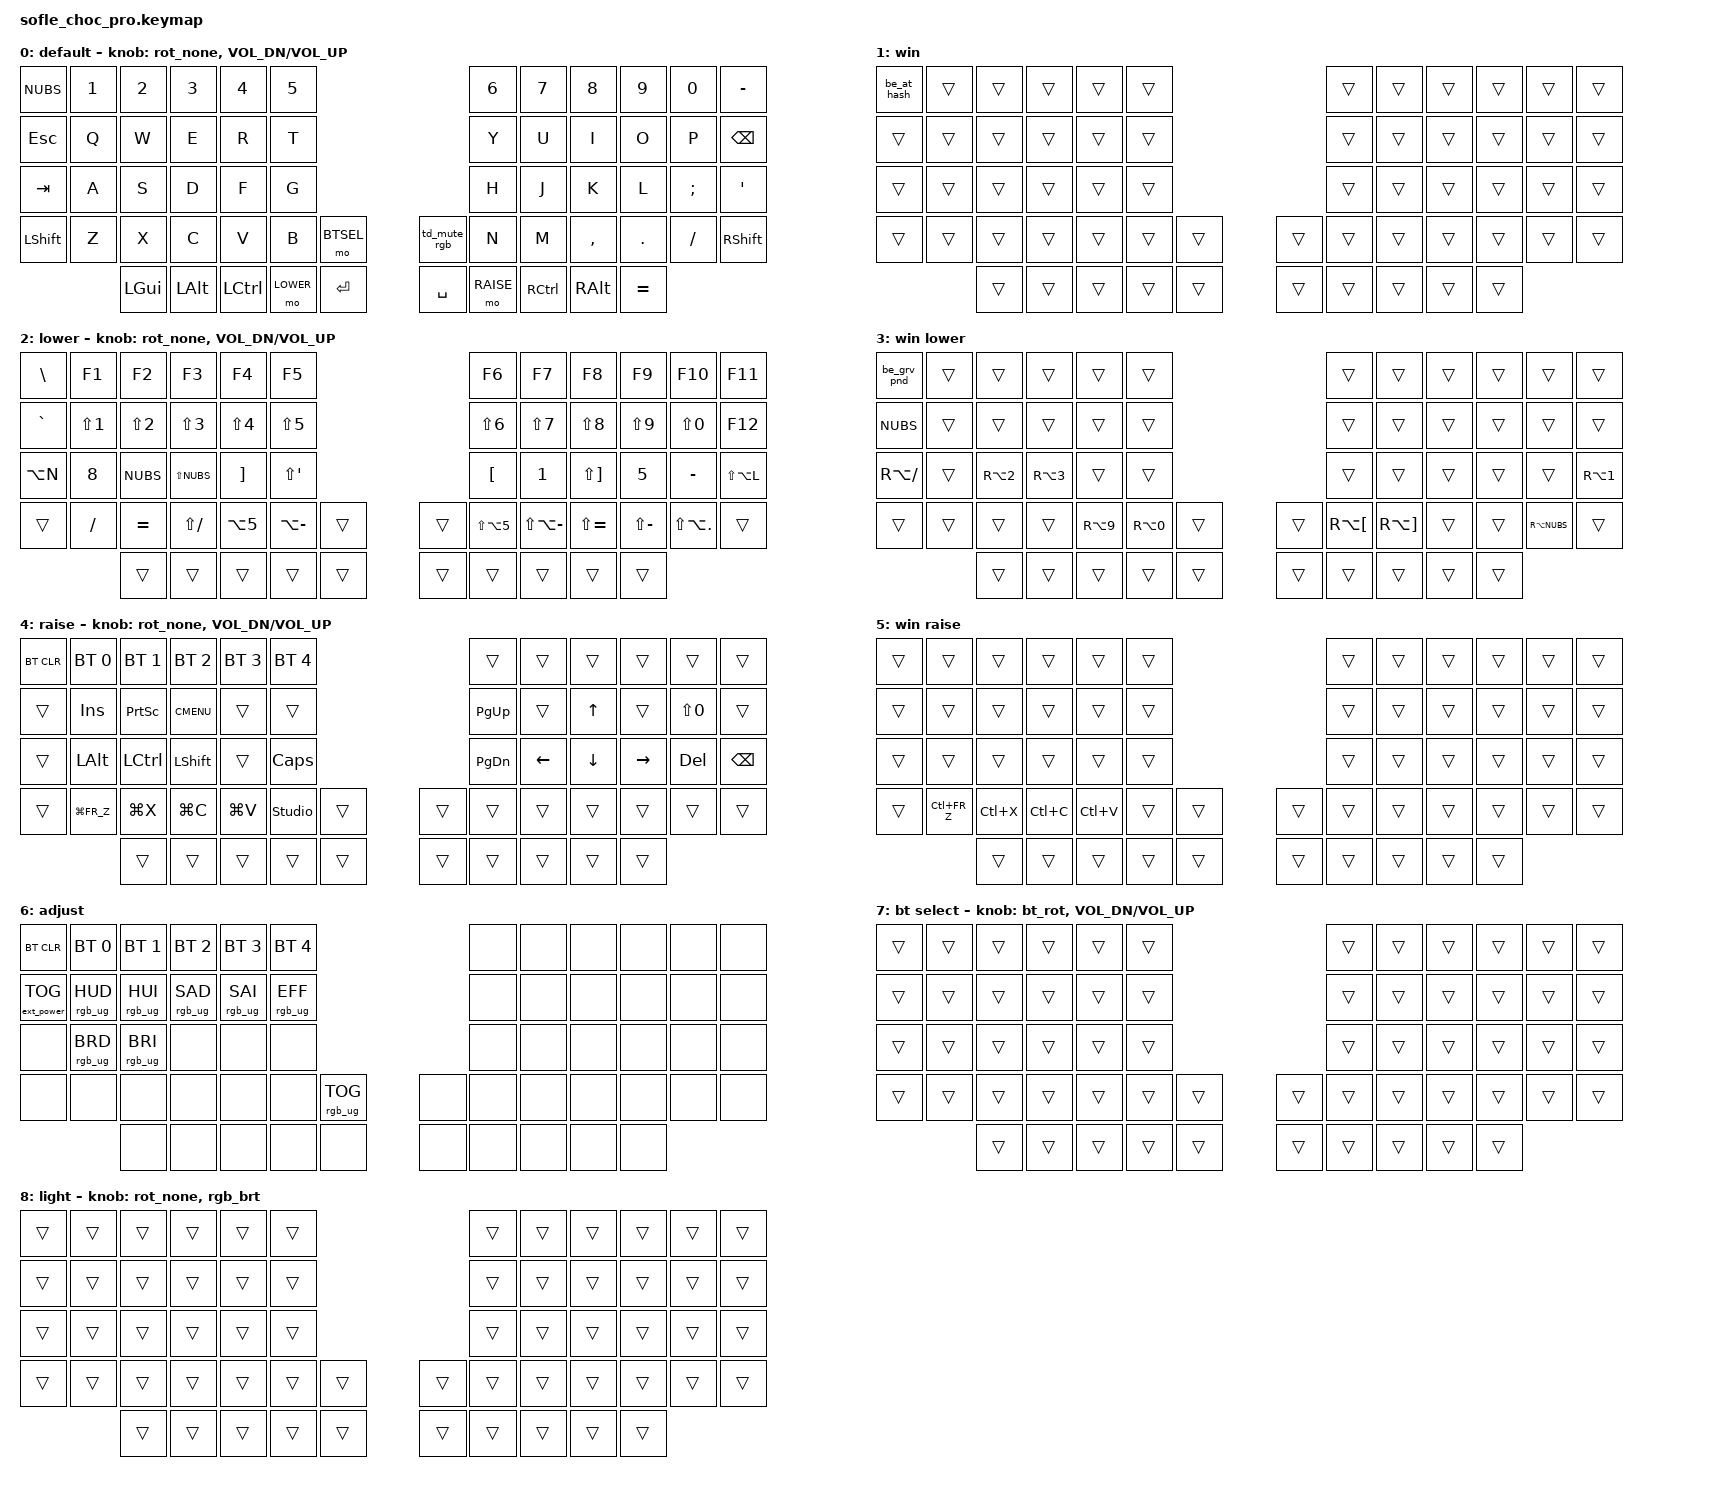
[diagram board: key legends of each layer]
/*
* Copyright (c) 2020 The ZMK Contributors
*
* SPDX-License-Identifier: MIT
*/

#include <behaviors.dtsi>
#include <dt-bindings/zmk/keys.h>
#include <dt-bindings/zmk/bt.h>
#include <dt-bindings/zmk/rgb.h>
#include <dt-bindings/zmk/ext_power.h>

// Each WIN_* layer sits directly above its macOS layer and only overrides the keys
// that differ on the Windows "Belgian (Period)" layout. WIN is switched on automatically
// while Bluetooth profile 2 is selected (CONFIG_ZMK_PROFILE_LAYER in sofle_choc_pro.conf).
#define BASE 0
#define WIN 1
#define LOWER 2
#define WIN_LOWER 3
#define RAISE 4
#define WIN_RAISE 5
#define ADJUST 6
#define BTSEL 7
// New layers go at the end: inserting one renumbers the others, and bindings saved on the
// keyboard (ZMK Studio) are stored by layer number. Otherwise run a settings reset after flashing.
#define RGBSEL 8

// ------------------------------------------------------------------------------------------------------------
// macOS "French" (AZERTY) input source aliases.
// ZMK sends HID key positions; macOS translates them using the selected input source,
// so these map each French character to the key (+ modifiers) that produces it on a Mac.
// If '@' and '<' come out swapped, exchange the FR_AT/FR_HASH and FR_LT/FR_GT definitions
// (macOS swaps the ISO section key depending on the detected keyboard type).
// ------------------------------------------------------------------------------------------------------------

// Letters that differ from QWERTY
#define FR_A      Q
#define FR_Z      W
#define FR_Q      A
#define FR_M      SEMI
#define FR_W      Z

// Number row (unshifted characters, digits require shift)
#define FR_AT     NUBS          // @
#define FR_HASH   LS(NUBS)      // #
#define FR_AMPS   N1            // &
#define FR_EACU   N2            // é
#define FR_DQUO   N3            // "
#define FR_APOS   N4            // '
#define FR_LPAR   N5            // (
#define FR_SECT   N6            // §
#define FR_EGRV   N7            // è
#define FR_EXCL   N8            // !
#define FR_CCED   N9            // ç
#define FR_AGRV   N0            // à
#define FR_RPAR   MINUS         // )
#define FR_DEG    LS(MINUS)     // °
#define FR_MINUS  EQUAL         // -
#define FR_UNDS   LS(EQUAL)     // _

#define FR_N1     LS(N1)
#define FR_N2     LS(N2)
#define FR_N3     LS(N3)
#define FR_N4     LS(N4)
#define FR_N5     LS(N5)
#define FR_N6     LS(N6)
#define FR_N7     LS(N7)
#define FR_N8     LS(N8)
#define FR_N9     LS(N9)
#define FR_N0     LS(N0)

// Punctuation
#define FR_CIRC   LBKT          // ^ (dead key)
#define FR_DLR    RBKT          // $
#define FR_ASTR   LS(RBKT)      // *
#define FR_UGRV   SQT           // ù
#define FR_PERC   LS(SQT)       // %
#define FR_GRV    BSLH          // ` (dead key)
#define FR_PND    LS(BSLH)      // £
#define FR_LT     GRAVE         // <
#define FR_GT     LS(GRAVE)     // >
#define FR_COMMA  M             // ,
#define FR_QUES   LS(M)         // ?
#define FR_SEMI   COMMA         // ;
#define FR_DOT    LS(COMMA)     // .
#define FR_COLON  DOT           // :
#define FR_SLSH   LS(DOT)       // /
#define FR_EQUAL  FSLH          // =
#define FR_PLUS   LS(FSLH)      // +

// Option-layer symbols
#define FR_LBRC   LA(N5)        // {
#define FR_RBRC   LA(MINUS)     // }
#define FR_LBKT   LS(LA(N5))    // [
#define FR_RBKT   LS(LA(MINUS)) // ]
#define FR_PIPE   LS(LA(L))     // |
#define FR_BSLH   LS(LA(DOT))   // backslash
#define FR_TILD   LA(N)         // ~ (dead key)

// macOS editing shortcuts (follow the French letters)
#define FR_UNDO   LG(FR_Z)
#define FR_CUT    LG(X)
#define FR_COPY   LG(C)
#define FR_PASTE  LG(V)

// ------------------------------------------------------------------------------------------------------------
// Windows "Belgian (Period)" (AZERTY) input source aliases, only for characters whose key differs
// from macOS French. AltGr is the right Alt key.
// ------------------------------------------------------------------------------------------------------------

#define BE_LT     NUBS          // <
#define BE_GT     LS(NUBS)      // >
#define BE_PIPE   RA(N1)        // |
#define BE_AT     RA(N2)        // @
#define BE_HASH   RA(N3)        // #
#define BE_LBRC   RA(N9)        // {
#define BE_RBRC   RA(N0)        // }
#define BE_LBKT   RA(LBKT)      // [
#define BE_RBKT   RA(RBKT)      // ]
#define BE_BSLH   RA(NUBS)      // backslash
#define BE_TILD   RA(FSLH)      // ~ (dead key)
#define BE_GRV    RA(BSLH)      // ` (dead key)
#define BE_PND    LS(BSLH)      // £

// Windows editing shortcuts (follow the French letters)
#define BE_UNDO   LC(FR_Z)
#define BE_CUT    LC(X)
#define BE_COPY   LC(C)
#define BE_PASTE  LC(V)

/ {

  behaviors {
    // Left encoder while its push button is held: cycle Bluetooth profiles
    bt_rot: bt_rotate {
      compatible = "zmk,behavior-sensor-rotate";
      #sensor-binding-cells = <0>;
      bindings = <&bt BT_PRV>, <&bt BT_NXT>;
    };

    // Left encoder otherwise: ignore rotation to avoid accidental profile changes
    rot_none: rot_none {
      compatible = "zmk,behavior-sensor-rotate";
      #sensor-binding-cells = <0>;
      bindings = <&none>, <&none>;
    };

    // Windows: same key gives @, shifted # (like the macOS @ # key)
    be_at_hash: be_at_hash {
      compatible = "zmk,behavior-mod-morph";
      #binding-cells = <0>;
      bindings = <&kp BE_AT>, <&kp BE_HASH>;
      mods = <(MOD_LSFT|MOD_RSFT)>;
    };

    // Windows: same key gives `, shifted £ (like the macOS ` £ key)
    be_grv_pnd: be_grv_pnd {
      compatible = "zmk,behavior-mod-morph";
      #binding-cells = <0>;
      bindings = <&kp BE_GRV>, <&kp BE_PND>;
      mods = <(MOD_LSFT|MOD_RSFT)>;
    };

    // Right encoder while its push button is held: underglow brightness
    rgb_brt: rgb_brightness {
      compatible = "zmk,behavior-sensor-rotate";
      #sensor-binding-cells = <0>;
      bindings = <&rgb_ug RGB_BRD>, <&rgb_ug RGB_BRI>;
    };

    // Right encoder button: tap = mute, hold = RGBSEL layer
    ht_rgb: hold_tap_rgb {
      compatible = "zmk,behavior-hold-tap";
      #binding-cells = <2>;
      flavor = "hold-preferred";
      tapping-term-ms = <200>;
      bindings = <&mo>, <&kp>;
    };

    // Right encoder button: single tap/hold as above, double tap = underglow on/off
    td_mute_rgb: tap_dance_mute_rgb {
      compatible = "zmk,behavior-tap-dance";
      #binding-cells = <0>;
      tapping-term-ms = <200>;
      bindings = <&ht_rgb RGBSEL C_MUTE>, <&rgb_ug RGB_TOG>;
    };
  };

  conditional_layers {
    compatible = "zmk,conditional-layers";
    // Activate ADJUST layer by pressing raise and lower
    adjust_layer {
      if-layers = <LOWER RAISE>;
      then-layer = <ADJUST>;
    };
    // Windows variants of LOWER and RAISE while the WIN layer is on
    win_lower_layer {
      if-layers = <LOWER WIN>;
      then-layer = <WIN_LOWER>;
    };
    win_raise_layer {
      if-layers = <RAISE WIN>;
      then-layer = <WIN_RAISE>;
    };
  };

  keymap {
    compatible = "zmk,keymap";

    default_layer {
      display-name = "default";
      // ------------------------------------------------------------------------------------------------------------
      // |  @ #  | & 1 | é 2 | " 3  | ' 4  | ( 5  |                   | § 6  | è 7   | ! 8   | ç 9  |  à 0  |  ) °  |
      // |  ESC  |  A  |  Z  |  E   |  R   |  T   |                   |  Y   |  U    |  I    |  O   |   P   | BKSPC |
      // |  TAB  |  Q  |  S  |  D   |  F   |  G   |                   |  H   |  J    |  K    |  L   |   M   |  ù %  |
      // | SHIFT |  W  |  X  |  C   |  V   |  B   |  BTSEL |  |MUTE/RGB|  N   |  , ?  |  ; .  |  : / |  = +  | SHIFT |
      //               | GUI | ALT  | CTRL | LOWER|  ENTER |  | SPACE | RAISE| CTRL  | ALT   | - _  |
      bindings = <
        &kp FR_AT &kp FR_AMPS &kp FR_EACU &kp FR_DQUO &kp FR_APOS &kp FR_LPAR                       &kp FR_SECT &kp FR_EGRV  &kp FR_EXCL &kp FR_CCED  &kp FR_AGRV &kp FR_RPAR
        &kp ESC   &kp FR_A    &kp FR_Z    &kp E       &kp R       &kp T                             &kp Y       &kp U        &kp I       &kp O        &kp P       &kp BSPC
        &kp TAB   &kp FR_Q    &kp S       &kp D       &kp F       &kp G                             &kp H       &kp J        &kp K       &kp L        &kp FR_M    &kp FR_UGRV
        &kp LSHFT &kp FR_W    &kp X       &kp C       &kp V       &kp B   &mo BTSEL  &td_mute_rgb   &kp N       &kp FR_COMMA &kp FR_SEMI &kp FR_COLON &kp FR_EQUAL &kp RSHFT
        &kp LGUI &kp LALT &kp LCTRL &mo LOWER  &kp RET    &kp SPACE  &mo RAISE  &kp RCTRL &kp RALT  &kp FR_MINUS
      >;

      sensor-bindings = <&rot_none &inc_dec_kp C_VOL_DN C_VOL_UP>;
    };

    win_layer {
      display-name = "win";
      // Windows Belgian overrides of default: @ # key (left of & 1)
      bindings = <
        &be_at_hash     &trans          &trans          &trans          &trans          &trans               &trans          &trans          &trans          &trans          &trans          &trans
        &trans          &trans          &trans          &trans          &trans          &trans               &trans          &trans          &trans          &trans          &trans          &trans
        &trans          &trans          &trans          &trans          &trans          &trans               &trans          &trans          &trans          &trans          &trans          &trans
        &trans          &trans          &trans          &trans          &trans          &trans          &trans          &trans          &trans          &trans          &trans          &trans          &trans          &trans
        &trans &trans &trans &trans &trans &trans &trans &trans &trans &trans
      >;
    };

    lower_layer {
      display-name = "lower";
      // ------------------------------------------------------------------------------------------------------------
      // |  ` £  |  F1 |  F2 |  F3  |  F4  |  F5  |                   |  F6  |  F7   |  F8   |  F9  |  F10  |  F11  |
      // |  < >  |  1  |  2  |  3   |  4   |  5   |                   |  6   |  7    |  8    |  9   |   0   |  F12  |
      // |   ~   |  !  |  @  |  #   |  $   |  %   |                   |  ^   |  &    |  *    |  (   |   )   |   |   |
      // |       |  =  |  -  |  +   |  {   |  }   |        |  |       |  [   |  ]    |  _    |  °   |   \   |       |
      //               |     |      |      |      |        |  |       |      |       |       |      |
      bindings = <
        &kp FR_GRV  &kp F1       &kp F2       &kp F3      &kp F4      &kp F5                       &kp F6      &kp F7      &kp F8      &kp F9      &kp F10     &kp F11
        &kp FR_LT   &kp FR_N1    &kp FR_N2    &kp FR_N3   &kp FR_N4   &kp FR_N5                    &kp FR_N6   &kp FR_N7   &kp FR_N8   &kp FR_N9   &kp FR_N0   &kp F12
        &kp FR_TILD &kp FR_EXCL  &kp FR_AT    &kp FR_HASH &kp FR_DLR  &kp FR_PERC                  &kp FR_CIRC &kp FR_AMPS &kp FR_ASTR &kp FR_LPAR &kp FR_RPAR &kp FR_PIPE
        &trans      &kp FR_EQUAL &kp FR_MINUS &kp FR_PLUS &kp FR_LBRC &kp FR_RBRC  &trans &trans   &kp FR_LBKT &kp FR_RBKT &kp FR_UNDS &kp FR_DEG  &kp FR_BSLH &trans
        &trans    &trans      &trans    &trans     &trans &trans  &trans    &trans   &trans    &trans
      >;

      sensor-bindings = <&rot_none &inc_dec_kp C_VOL_DN C_VOL_UP>;
    };

    win_lower_layer {
      display-name = "win lower";
      // Windows Belgian overrides of lower: ` £, < >, ~, @, #, |, { }, [ ], backslash
      bindings = <
        &be_grv_pnd     &trans          &trans          &trans          &trans          &trans               &trans          &trans          &trans          &trans          &trans          &trans
        &kp BE_LT       &trans          &trans          &trans          &trans          &trans               &trans          &trans          &trans          &trans          &trans          &trans
        &kp BE_TILD     &trans          &kp BE_AT       &kp BE_HASH     &trans          &trans               &trans          &trans          &trans          &trans          &trans          &kp BE_PIPE
        &trans          &trans          &trans          &trans          &kp BE_LBRC     &kp BE_RBRC     &trans          &trans          &kp BE_LBKT     &kp BE_RBKT     &trans          &trans          &kp BE_BSLH     &trans
        &trans &trans &trans &trans &trans &trans &trans &trans &trans &trans
      >;
    };

    raise_layer {
      display-name = "raise";
      // ------------------------------------------------------------------------------------------------------------
      // | BTCLR | BT1  | BT2  |  BT3  |  BT4  |  BT5 |                |      |      |       |      |       |       |
      // |       | INS  | PSCR | GUI   |       |      |                | PGUP |      |   ^   |      |   0   |       |
      // |       | ALT  | CTRL | SHIFT |       | CAPS |                | PGDN |   <- |   v   |  ->  |  DEL  | BKSPC |
      // |       | UNDO | CUT  | COPY  | PASTE |      |      |  |      |      |      |       |      |       |       |
      //                |      |       |       |      |      |  |      |      |      |       |      |
      bindings = <
        &bt BT_CLR &bt BT_SEL 0 &bt BT_SEL 1 &bt BT_SEL 2 &bt BT_SEL 3 &bt BT_SEL 4                  &trans    &trans    &trans   &trans    &trans    &trans
        &trans     &kp INS      &kp PSCRN    &kp K_CMENU  &trans       &trans                        &kp PG_UP &trans    &kp UP   &trans    &kp FR_N0 &trans
        &trans     &kp LALT     &kp LCTRL    &kp LSHFT    &trans       &kp CLCK                      &kp PG_DN &kp LEFT  &kp DOWN &kp RIGHT &kp DEL   &kp BSPC
        &trans     &kp FR_UNDO  &kp FR_CUT   &kp FR_COPY  &kp FR_PASTE &studio_unlock        &trans  &trans  &trans    &trans    &trans   &trans    &trans    &trans
        &trans       &trans       &trans       &trans        &trans  &trans  &trans    &trans    &trans   &trans
      >;

      sensor-bindings = <&rot_none &inc_dec_kp C_VOL_DN C_VOL_UP>;
    };

    win_raise_layer {
      display-name = "win raise";
      // Windows Belgian overrides of raise: Ctrl instead of Cmd for undo/cut/copy/paste
      bindings = <
        &trans          &trans          &trans          &trans          &trans          &trans               &trans          &trans          &trans          &trans          &trans          &trans
        &trans          &trans          &trans          &trans          &trans          &trans               &trans          &trans          &trans          &trans          &trans          &trans
        &trans          &trans          &trans          &trans          &trans          &trans               &trans          &trans          &trans          &trans          &trans          &trans
        &trans          &kp BE_UNDO     &kp BE_CUT      &kp BE_COPY     &kp BE_PASTE    &trans          &trans          &trans          &trans          &trans          &trans          &trans          &trans          &trans
        &trans &trans &trans &trans &trans &trans &trans &trans &trans &trans
      >;
    };

    adjust_layer {
      // ----------------------------------------------------------------------------------------------------------------------------
      // | BTCLR  |  BT1    |  BT2    |   BT3   |   BT4   |   BT5   |                  |      |      |       |      |       |       |
      // | EXTPWR | RGB_HUD | RGB_HUI | RGB_SAD | RGB_SAI | RGB_EFF |                  |      |      |       |      |       |       |
      // |        | RGB_BRD | RGB_BRI |         |         |         |                  |      |      |       |      |       |       |
      // |        |         |         |         |         |         | RGB_TOG | |      |      |      |       |      |       |       |
      //                    |         |         |         |         |         | |      |      |      |       |      |
      display-name = "adjust";
      bindings = <
        &bt BT_CLR        &bt BT_SEL 0    &bt BT_SEL 1    &bt BT_SEL 2    &bt BT_SEL 3    &bt BT_SEL 4                            &none &none &none &none &none &none
        &ext_power EP_TOG &rgb_ug RGB_HUD &rgb_ug RGB_HUI &rgb_ug RGB_SAD &rgb_ug RGB_SAI &rgb_ug RGB_EFF                         &none &none &none &none &none &none
        &none             &rgb_ug RGB_BRD &rgb_ug RGB_BRI &none           &none           &none                                   &none &none &none &none &none &none
        &none             &none           &none           &none           &none           &none            &rgb_ug RGB_TOG &none  &none &none &none &none &none &none
        &none           &none           &none           &none            &none           &none  &none &none &none &none
      >;
    };

    btsel_layer {
      display-name = "bt select";
      // Active while the left encoder button is held: rotate the left encoder to switch Bluetooth profile,
      // release the button to keep the selected profile. The right encoder still controls volume.
      bindings = <
        &trans &trans &trans &trans &trans &trans                      &trans &trans &trans &trans &trans &trans
        &trans &trans &trans &trans &trans &trans                      &trans &trans &trans &trans &trans &trans
        &trans &trans &trans &trans &trans &trans                      &trans &trans &trans &trans &trans &trans
        &trans &trans &trans &trans &trans &trans &trans   &trans &trans &trans &trans &trans &trans &trans
        &trans &trans &trans &trans &trans &trans &trans &trans &trans &trans
      >;

      sensor-bindings = <&bt_rot &inc_dec_kp C_VOL_DN C_VOL_UP>;
    };

    rgbsel_layer {
      display-name = "light";
      // Active while the right encoder button is held: rotate the right encoder to dim/brighten
      // the underglow. Double-tap the button to switch the underglow on/off.
      bindings = <
        &trans &trans &trans &trans &trans &trans                      &trans &trans &trans &trans &trans &trans
        &trans &trans &trans &trans &trans &trans                      &trans &trans &trans &trans &trans &trans
        &trans &trans &trans &trans &trans &trans                      &trans &trans &trans &trans &trans &trans
        &trans &trans &trans &trans &trans &trans &trans   &trans &trans &trans &trans &trans &trans &trans
        &trans &trans &trans &trans &trans &trans &trans &trans &trans &trans
      >;

      sensor-bindings = <&rot_none &rgb_brt>;
    };
  };
};
